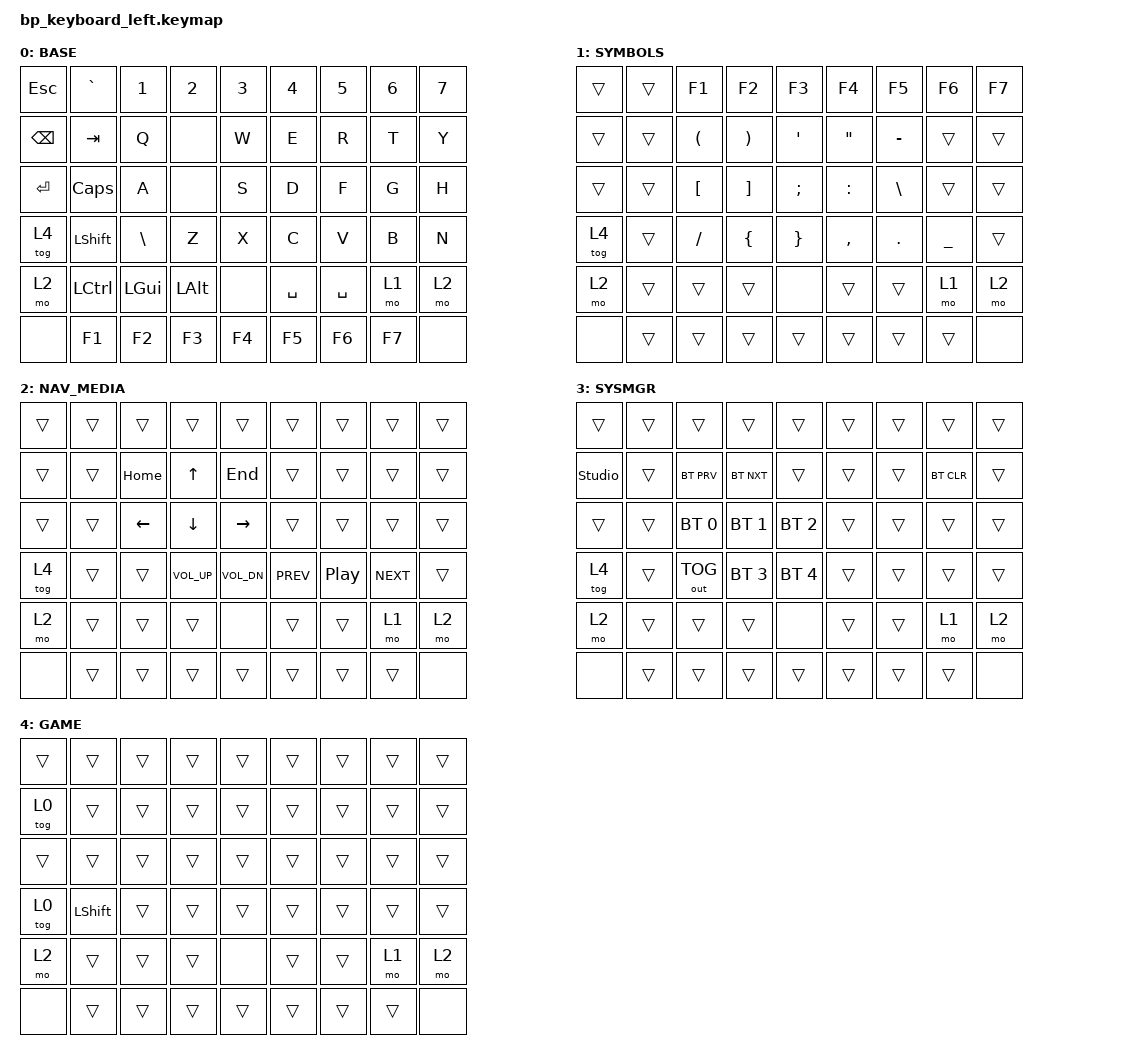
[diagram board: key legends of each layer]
/*
 * Copyright (c) 2026 BP Keyboard
 * SPDX-License-Identifier: MIT
 *
 * BP分体键盘 - 左键盘键位映射 (Central)
 */

#include <dt-bindings/zmk/keys.h>
#include <dt-bindings/zmk/bt.h>
#include <dt-bindings/zmk/outputs.h>

/ {
    keymap {
        compatible = "zmk,keymap";

        default_layer {
            label = "BASE";
            bindings = <
                &kp ESC   &kp GRAVE &kp N1    &kp N2    &kp N3    &kp N4    &kp N5    &kp N6    &kp N7
                &kp BSPC  &kp TAB   &kp Q     &none     &kp W     &kp E     &kp R     &kp T     &kp Y
                &kp RET   &kp CAPS  &kp A     &none     &kp S     &kp D     &kp F     &kp G     &kp H
                &tog 4    &kp LSHFT &kp BSLH  &kp Z     &kp X     &kp C     &kp V     &kp B     &kp N
                &mo 2     &kp LCTRL &kp LGUI  &kp LALT  &none     &kp SPACE &kp SPACE &mo 1     &mo 2
                &none     &kp F1    &kp F2    &kp F3    &kp F4    &kp F5    &kp F6    &kp F7    &none
            >;
        };

        sym_layer {
            label = "SYMBOLS";
            bindings = <
                &trans    &trans    &kp F1    &kp F2    &kp F3    &kp F4    &kp F5    &kp F6    &kp F7
                &trans    &trans    &kp LPAR  &kp RPAR  &kp SQT   &kp DQT   &kp MINUS &trans    &trans
                &trans    &trans    &kp LBKT  &kp RBKT  &kp SEMI  &kp COLON &kp BSLH  &trans    &trans
                &tog 4    &trans    &kp FSLH  &kp LBRC  &kp RBRC  &kp COMMA &kp DOT   &kp UNDER &trans
                &mo 2     &trans    &trans    &trans    &none     &trans    &trans    &mo 1     &mo 2
                &none     &trans    &trans    &trans    &trans    &trans    &trans    &trans    &none
            >;
        };

        nav_layer {
            label = "NAV_MEDIA";
            bindings = <
                &trans    &trans    &trans    &trans    &trans    &trans    &trans    &trans    &trans
                &trans    &trans    &kp HOME  &kp UP    &kp END   &trans    &trans    &trans    &trans
                &trans    &trans    &kp LEFT  &kp DOWN  &kp RIGHT &trans    &trans    &trans    &trans
                &tog 4    &trans    &trans    &kp C_VOL_UP &kp C_VOL_DN &kp C_PREV &kp C_PP &kp C_NEXT &trans
                &mo 2     &trans    &trans    &trans    &none     &trans    &trans    &mo 1     &mo 2
                &none     &trans    &trans    &trans    &trans    &trans    &trans    &trans    &none
            >;
        };

        sys_layer {
            label = "SYSMGR";
            bindings = <
                &trans         &trans    &trans    &trans    &trans    &trans    &trans    &trans    &trans
                &studio_unlock &trans    &bt BT_PRV &bt BT_NXT &trans   &trans    &trans    &bt BT_CLR &trans
                &trans         &trans    &bt BT_SEL 0 &bt BT_SEL 1 &bt BT_SEL 2 &trans &trans &trans &trans
                &tog 4         &trans    &out OUT_TOG &bt BT_SEL 3 &bt BT_SEL 4 &trans &trans &trans &trans
                &mo 2          &trans    &trans    &trans    &none     &trans    &trans    &mo 1     &mo 2
                &none          &trans    &trans    &trans    &trans    &trans    &trans    &trans    &none
            >;
        };

        game_layer {
            label = "GAME";
            bindings = <
                &trans    &trans    &trans    &trans    &trans    &trans    &trans    &trans    &trans
                &tog 0    &trans    &trans    &trans    &trans    &trans    &trans    &trans    &trans
                &trans    &trans    &trans    &trans    &trans    &trans    &trans    &trans    &trans
                &tog 0    &kp LSHFT &trans    &trans    &trans    &trans    &trans    &trans    &trans
                &mo 2     &trans    &trans    &trans    &none     &trans    &trans    &mo 1     &mo 2
                &none     &trans    &trans    &trans    &trans    &trans    &trans    &trans    &none
            >;
        };
    };
};
